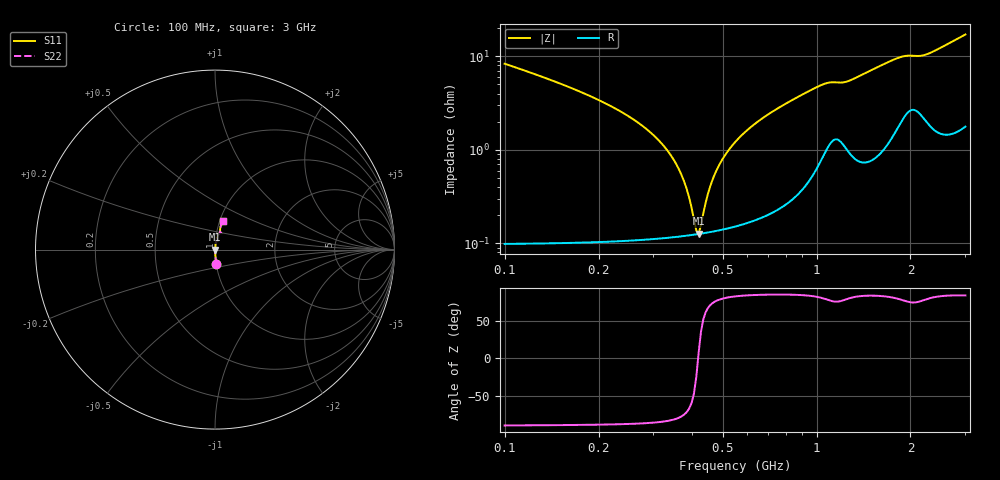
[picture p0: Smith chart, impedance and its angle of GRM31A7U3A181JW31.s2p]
!Murata Part Number: GRM31A7U3A181JW31
!These Parameters are Measured in Series Mode Connection
!Data Generated on Mar 30, 2021
!  o--ll--o
!Port1  Port2
!  o------o
!Operation Temp=25[degC], DC Bias Voltage=0[V]
!Freq. Start=100[MHz] Stop=3[GHz] 401[Steps]
# Hz S RI R 50
!Freq.(Hz) S11(Real) S11(Imag) S21(Real) S21(Imag) S12(Real) S12(Imag) S22(Real) S22(Imag)
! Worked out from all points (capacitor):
!   401 points, 100 MHz to 3 GHz, reference 50 ohm
!   read as one part in series: C = 180 pF near 114.5 MHz
!   lowest |Z| = 127 mohm at 419 MHz (marker M1)
!   series resonance near 417.2 MHz, so ESL is about 810 pH
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1e8  0.00787 -0.0827  0.9921 0.0827  0.9921 0.0827  0.00787 -0.0827
2.6675e8  0.00146 -0.0196  0.9985 0.0196  0.9985 0.0196  0.00146 -0.0196
3.2475e8  0.00125 -0.0108  0.9987 0.0108  0.9987 0.0108  0.00125 -0.0108
3.6825e8  0.00121 -0.00534  0.9988 0.00534  0.9988 0.00534  0.00121 -0.00534
3.8275e8  0.00122 -0.00368  0.9988 0.00368  0.9988 0.00368  0.00122 -0.00368
4.045e8  0.00124 -0.00132  0.9988 0.00132  0.9988 0.00132  0.00124 -0.00132
4.19e8  0.00126 0.000191  0.9987 -0.000191  0.9987 -0.000191  0.00126 0.000191
4.2625e8  0.00127 0.000926  0.9987 -0.000926  0.9987 -0.000926  0.00127 0.000926
4.625e8  0.00135 0.00444  0.9987 -0.00444  0.9987 -0.00444  0.00135 0.00444
4.8425e8  0.00141 0.00644  0.9986 -0.00644  0.9986 -0.00644  0.00141 0.00644
5.2775e8  0.00156 0.0102  0.9984 -0.0102  0.9984 -0.0102  0.00156 0.0102
5.8575e8  0.00183 0.015  0.9982 -0.015  0.9982 -0.015  0.00183 0.015
6.655e8  0.00232 0.0212  0.9977 -0.0212  0.9977 -0.0212  0.00232 0.0212
7.7425e8  0.00328 0.0292  0.9967 -0.0292  0.9967 -0.0292  0.00328 0.0292
1.0715e9  0.0121 0.0494  0.9879 -0.0494  0.9879 -0.0494  0.0121 0.0494
1.2455e9  0.0128 0.0513  0.9872 -0.0513  0.9872 -0.0513  0.0128 0.0513
1.55e9  0.0136 0.0731  0.9864 -0.0731  0.9864 -0.0731  0.0136 0.0731
1.83275e9  0.026 0.091  0.974 -0.091  0.974 -0.091  0.026 0.091
2.03575e9  0.0348 0.0919  0.9652 -0.0919  0.9652 -0.0919  0.0348 0.0919
2.217e9  0.0302 0.096  0.9698 -0.096  0.9698 -0.096  0.0302 0.096
2.5215e9  0.0291 0.1192  0.9709 -0.1192  0.9709 -0.1192  0.0291 0.1192
3e9  0.0442 0.16  0.9558 -0.16  0.9558 -0.16  0.0442 0.16
